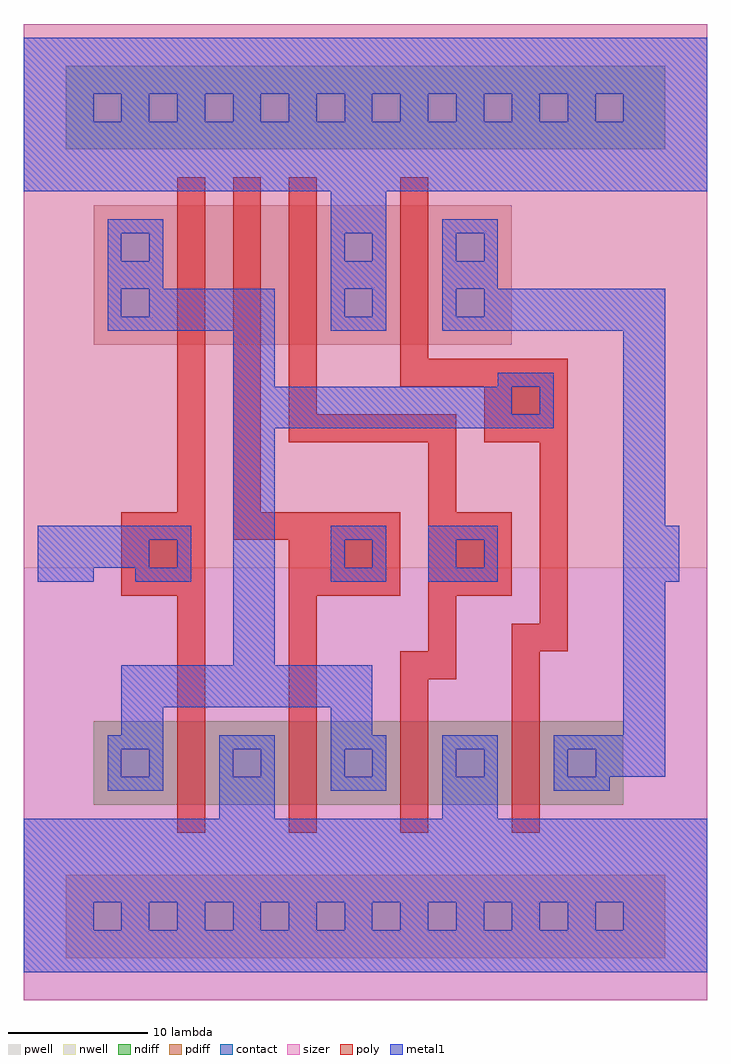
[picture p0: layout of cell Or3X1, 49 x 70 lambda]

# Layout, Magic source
magic
tech LibreSilicon-test000-concept-mg-70-7
<< sizer >>
rect 0 0 49 70
<< metal1 >>
rect 0 65 49 69
rect 0 63 5 65
rect 7 63 9 65
rect 11 63 13 65
rect 15 63 17 65
rect 19 63 21 65
rect 23 63 25 65
rect 27 63 29 65
rect 31 63 33 65
rect 35 63 37 65
rect 39 63 41 65
rect 43 63 49 65
rect 0 58 49 63
rect 22 55 26 58
rect 6 55 10 56
rect 30 55 34 56
rect 6 53 7 55
rect 9 53 10 55
rect 22 53 23 55
rect 25 53 26 55
rect 30 53 31 55
rect 33 53 34 55
rect 6 51 10 53
rect 22 51 26 53
rect 30 51 34 53
rect 6 49 7 51
rect 9 49 18 51
rect 22 49 23 51
rect 25 49 26 51
rect 30 49 31 51
rect 33 49 46 51
rect 6 48 18 49
rect 22 48 26 49
rect 30 48 46 49
rect 15 44 18 48
rect 43 34 46 48
rect 34 44 38 45
rect 15 42 35 44
rect 37 42 38 44
rect 15 41 38 42
rect 15 24 18 41
rect 1 33 12 34
rect 22 33 26 34
rect 29 33 34 34
rect 43 30 47 34
rect 1 31 9 33
rect 11 31 12 33
rect 22 31 23 33
rect 25 31 26 33
rect 29 31 31 33
rect 33 31 34 33
rect 1 30 5 31
rect 8 30 12 31
rect 22 30 26 31
rect 29 30 34 31
rect 43 19 46 30
rect 7 21 25 24
rect 7 19 10 21
rect 22 19 25 21
rect 6 18 10 19
rect 14 18 18 19
rect 22 18 26 19
rect 30 18 34 19
rect 38 18 46 19
rect 6 16 7 18
rect 9 16 10 18
rect 14 16 15 18
rect 17 16 18 18
rect 22 16 23 18
rect 25 16 26 18
rect 30 16 31 18
rect 33 16 34 18
rect 38 16 39 18
rect 41 16 46 18
rect 6 15 10 16
rect 14 13 18 16
rect 22 15 26 16
rect 30 13 34 16
rect 38 15 42 16
rect 0 7 49 13
rect 0 5 5 7
rect 7 5 9 7
rect 11 5 13 7
rect 15 5 17 7
rect 19 5 21 7
rect 23 5 25 7
rect 27 5 29 7
rect 31 5 33 7
rect 35 5 37 7
rect 39 5 41 7
rect 43 5 49 7
rect 0 2 49 5
<< contact >>
rect 5 63 7 65
rect 9 63 11 65
rect 13 63 15 65
rect 17 63 19 65
rect 21 63 23 65
rect 25 63 27 65
rect 29 63 31 65
rect 33 63 35 65
rect 37 63 39 65
rect 41 63 43 65
rect 7 53 9 55
rect 23 53 25 55
rect 31 53 33 55
rect 7 49 9 51
rect 23 49 25 51
rect 31 49 33 51
rect 35 42 37 44
rect 9 31 11 33
rect 23 31 25 33
rect 31 31 33 33
rect 7 16 9 18
rect 15 16 17 18
rect 23 16 25 18
rect 31 16 33 18
rect 39 16 41 18
rect 5 5 7 7
rect 9 5 11 7
rect 13 5 15 7
rect 17 5 19 7
rect 21 5 23 7
rect 25 5 27 7
rect 29 5 31 7
rect 33 5 35 7
rect 37 5 39 7
rect 41 5 43 7
<< poly >>
rect 11 35 13 59
rect 15 35 17 59
rect 19 42 21 59
rect 27 46 29 59
rect 27 44 39 46
rect 33 40 39 44
rect 19 40 31 42
rect 29 35 31 40
rect 37 27 39 40
rect 7 29 13 35
rect 15 33 27 35
rect 29 29 35 35
rect 19 29 27 33
rect 11 12 13 29
rect 19 12 21 29
rect 29 25 31 29
rect 35 25 39 27
rect 27 23 31 25
rect 35 12 37 25
rect 27 12 29 23
<< ndiff >>
rect 3 61 46 67
rect 5 14 43 20
<< pdiff >>
rect 5 47 35 57
rect 3 3 46 9
<< nwell >>
rect 0 31 49 70
<< pwell >>
rect 0 0 49 31
<< end >>
